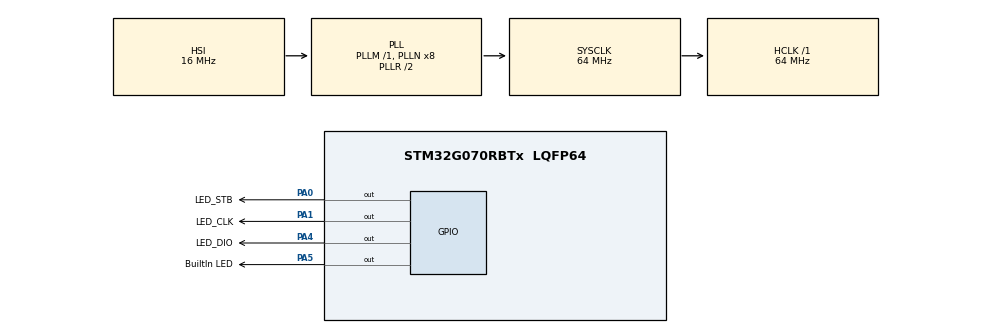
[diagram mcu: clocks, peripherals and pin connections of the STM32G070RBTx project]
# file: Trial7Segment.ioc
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Mcu.Family=STM32G0
Mcu.Name=STM32G070RBTx
Mcu.Package=LQFP64
PA0.GPIO_Label=LED_STB
PA0.Signal=GPIO_Output
PA1.GPIO_Label=LED_CLK
PA1.Signal=GPIO_Output
PA4.GPIO_Label=LED_DIO
PA4.GPIO_PuPd=GPIO_PULLUP
PA4.Signal=GPIO_Output
PA5.GPIO_Label=BuiltIn LED
PA5.Signal=GPIO_Output
PC14-OSC32_IN\ (PC14).Mode=LSE-External-Oscillator
PC14-OSC32_IN\ (PC14).Signal=RCC_OSC32_IN
PC15-OSC32_OUT\ (PC15).Mode=LSE-External-Oscillator
PC15-OSC32_OUT\ (PC15).Signal=RCC_OSC32_OUT
PF0-OSC_IN\ (PF0).Mode=HSE-External-Oscillator
PF0-OSC_IN\ (PF0).Signal=RCC_OSC_IN
PF1-OSC_OUT\ (PF1).Mode=HSE-External-Oscillator
PF1-OSC_OUT\ (PF1).Signal=RCC_OSC_OUT
ProjectManager.HeapSize=0x200
ProjectManager.StackSize=0x400
ProjectManager.TargetToolchain=MDK-ARM V5.27
RCC.ADCFreq_Value=64000000
RCC.AHBFreq_Value=64000000
RCC.CortexFreq_Value=64000000
RCC.EXTERNAL_CLOCK_VALUE=48000
RCC.HCLKFreq_Value=64000000
RCC.HSE_VALUE=8000000
RCC.HSI_VALUE=16000000
RCC.SYSCLKFreq_VALUE=64000000
RCC.SYSCLKSource=RCC_SYSCLKSOURCE_PLLCLK
RCC.VCOOutputFreq_Value=128000000
RTC.Date=5
RTC.Hours=10
RTC.Minutes=20
RTC.Month=RTC_MONTH_AUGUST
RTC.Seconds=30
RTC.WeekDay=RTC_WEEKDAY_FRIDAY
TIM1.AutoReloadPreload=TIM_AUTORELOAD_PRELOAD_ENABLE
TIM1.Prescaler=64-1
VP_RTC_VS_RTC_Activate.Mode=RTC_Enabled
VP_RTC_VS_RTC_Calendar.Mode=RTC_Calendar
VP_SYS_VS_DBSignals.Mode=DisableDeadBatterySignals
VP_TIM1_VS_ClockSourceINT.Mode=Internal
VP_TIM3_VS_ClockSourceINT.Mode=Internal
board=custom

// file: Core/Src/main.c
/* USER CODE BEGIN Header */
/**
  ******************************************************************************
  * @file           : main.c
  * @brief          : Main program body
  ******************************************************************************
  * @attention
  *
  * <h2><center>&copy; Copyright (c) 2022 STMicroelectronics.
  * All rights reserved.</center></h2>
  *
  * This software component is licensed by ST under BSD 3-Clause license,
  * the "License"; You may not use this file except in compliance with the
  * License. You may obtain a copy of the License at:
  *                        opensource.org/licenses/BSD-3-Clause
  *
  ******************************************************************************
  */
/* USER CODE END Header */
#include "main.h"
#include <stdio.h>

RTC_HandleTypeDef hrtc;

TIM_HandleTypeDef htim1;
TIM_HandleTypeDef htim3;

/* USER CODE BEGIN PV */
char time[10];
char date[10];
/* USER CODE END PV */

void SystemClock_Config(void);
static void MX_GPIO_Init(void);
static void MX_TIM1_Init(void);
static void MX_TIM3_Init(void);
static void MX_RTC_Init(void);

/* USER CODE BEGIN 0 */
void set_time(void)
{
	/** Initialize RTC and set the Time and Date
  */
	RTC_TimeTypeDef sTime;
  RTC_DateTypeDef sDate;

  sTime.Hours = 0x10;
  sTime.Minutes = 0x20;
  sTime.Seconds = 0x30;
  sTime.SubSeconds = 0x0;
  sTime.DayLightSaving = RTC_DAYLIGHTSAVING_NONE;
  sTime.StoreOperation = RTC_STOREOPERATION_RESET;
  if (HAL_RTC_SetTime(&hrtc, &sTime, RTC_FORMAT_BCD) != HAL_OK)
  {
    Error_Handler();
  }
  sDate.WeekDay = RTC_WEEKDAY_FRIDAY;
  sDate.Month = RTC_MONTH_AUGUST;
  sDate.Date = 0x5;
  sDate.Year = 0x0;

  if (HAL_RTC_SetDate(&hrtc, &sDate, RTC_FORMAT_BCD) != HAL_OK)
  {
    Error_Handler();
  }

	HAL_RTCEx_BKUPWrite(&hrtc, RTC_BKP_DR1, 0x32F2);
}

void get_time(void)
{
 RTC_DateTypeDef gDate;
 RTC_TimeTypeDef gTime;
/* Get the RTC current Time */
 HAL_RTC_GetTime(&hrtc, &gTime, RTC_FORMAT_BIN);
/* Get the RTC current Date */
 HAL_RTC_GetDate(&hrtc, &gDate, RTC_FORMAT_BIN);
/* Display time Format: hh:mm:ss */
 sprintf((char*)time,"%02d:%02d:%02d",gTime.Hours, gTime.Minutes, gTime.Seconds);
/* Display date Format: dd-mm-yy */
 sprintf((char*)date,"%02d-%02d-%2d",gDate.Date, gDate.Month, 2000 + gDate.Year);
}

uint8_t convertNumber(uint8_t num)
{
	uint8_t converted;
	switch (num)
	{
		case (0x00):
			converted = NOL;
			break;
		case (0x01):
			converted = SATU;
			break;
		case (0x02):
			converted = DUA;
			break;
		case (0x03):
			converted = TIGA;
			break;
		case (0x04):
			converted = EMPAT;
			break;
		case (0x05):
			converted = LIMA;
			break;
		case (0x06):
			converted = ENAM;
			break;
		case (0x07):
			converted = TUJUH;
			break;
		case (0x08):
			converted = DELAPAN;
			break;
		case (0x09):
			converted = SEMBILAN;
			break;
	}
	return converted;
}

void delay_us (uint16_t us)
{
	__HAL_TIM_SET_COUNTER(&htim1,0);  // set the counter value a 0
	while (__HAL_TIM_GET_COUNTER(&htim1) < us);  // wait for the counter to reach the us input in the parameter
}

void writeByte(uint8_t byte)
{
	for (int i=0; i<8; i++)
	{
		clockLow;
		writePin(GPIOA, GPIO_PIN_4, byte&0x01);	// Write from LSB
		byte = byte >> 1;
		clockHigh;
	}
	delay_us(10);
}

void writeCommand(uint8_t displayCommand)
{
	Strobe0;	// Pull Strobe Low before sending data
	writeByte(displayCommand);
	Strobe1; // Pull Strobe High after sending data
}

void writeData(uint8_t displayData)
{
	Strobe0;	// Pull Strobe Low before sending data
	writeByte(displayData);
	delay_us(10);
}

void turnOn()
{
	writeCommand(incrementAddress);	// Command 2 - Set Write data
	writeCommand(clearDisplay); // Command 3 - Clear RAM Display
	writeCommand(fourDigits); // Command 1
	writeCommand(displayOff); // Command 4 - Display off
	writeCommand(fourDigits); // Command 1
	writeCommand(brightnessLevel8);	// Command 4 - Display on
}

void turnOff()
{
	writeCommand(incrementAddress);	// Command 2 - Set Write data
	writeCommand(clearDisplay); // Command 3 - Clear RAM Display
	writeCommand(fourDigits); // Command 1
	writeCommand(displayOff); // Command 4 - Display off
	writeCommand(fourDigits); // Command 1
	writeCommand(displayOff);	// Command 4 - Display off
}

void displayNilai(uint8_t ribuan, uint8_t ratusan, uint8_t puluhan, uint8_t satuan)
{
	writeCommand(incrementAddress);		// Command 2 - Set Write data
	Strobe1;
	writeData(digit1Seg1);					// Command 3 - Set Address of 7 Segment
	writeData(ribuan);
	writeData(digit2Seg3);					// Command 3 - Set Address of 7 Segment
	writeData(ratusan);
	writeData(digit3Seg5);					// Command 3 - Set Address of 7 Segment
	writeData(puluhan);
	writeData(digit4Seg7);						// Command 3 - Set Address of 7 Segment
	writeData(satuan);
	Strobe1;
	writeCommand(fourDigits); 				// Command 1
	writeCommand(brightnessLevel6);		// Command 4 - Display on
	delay_us(40000);
}

/* USER CODE END 0 */

int main(void)
{

  /* MCU Configuration--------------------------------------------------------*/

  /* Reset of all peripherals, Initializes the Flash interface and the Systick. */
  HAL_Init();

  /* Configure the system clock */
  SystemClock_Config();

  /* Initialize all configured peripherals */
  MX_GPIO_Init();
  MX_TIM1_Init();
  MX_TIM3_Init();
  MX_RTC_Init();
  /* USER CODE BEGIN 2 */
	HAL_TIM_Base_Start(&htim1);	// Start timer 1
	turnOn();
	set_time();
  /* USER CODE END 2 */

  /* Infinite loop */
  while (1)
  {

    /* USER CODE BEGIN 3 */
		displayNilai(NOL, SATU, DUA, TIGA);
		get_time();
		delay_us(10000);
  }
  /* USER CODE END 3 */
}

void SystemClock_Config(void)
{
  RCC_OscInitTypeDef RCC_OscInitStruct = {0};
  RCC_ClkInitTypeDef RCC_ClkInitStruct = {0};
  RCC_PeriphCLKInitTypeDef PeriphClkInit = {0};

  /** Configure the main internal regulator output voltage
  */
  HAL_PWREx_ControlVoltageScaling(PWR_REGULATOR_VOLTAGE_SCALE1);
  /** Initializes the RCC Oscillators according to the specified parameters
  * in the RCC_OscInitTypeDef structure.
  */
  RCC_OscInitStruct.OscillatorType = RCC_OSCILLATORTYPE_HSI|RCC_OSCILLATORTYPE_LSI;
  RCC_OscInitStruct.HSIState = RCC_HSI_ON;
  RCC_OscInitStruct.HSIDiv = RCC_HSI_DIV1;
  RCC_OscInitStruct.HSICalibrationValue = RCC_HSICALIBRATION_DEFAULT;
  RCC_OscInitStruct.LSIState = RCC_LSI_ON;
  RCC_OscInitStruct.PLL.PLLState = RCC_PLL_ON;
  RCC_OscInitStruct.PLL.PLLSource = RCC_PLLSOURCE_HSI;
  RCC_OscInitStruct.PLL.PLLM = RCC_PLLM_DIV1;
  RCC_OscInitStruct.PLL.PLLN = 8;
  RCC_OscInitStruct.PLL.PLLP = RCC_PLLP_DIV2;
  RCC_OscInitStruct.PLL.PLLR = RCC_PLLR_DIV2;
  if (HAL_RCC_OscConfig(&RCC_OscInitStruct) != HAL_OK)
  {
    Error_Handler();
  }
  /** Initializes the CPU, AHB and APB buses clocks
  */
  RCC_ClkInitStruct.ClockType = RCC_CLOCKTYPE_HCLK|RCC_CLOCKTYPE_SYSCLK
                              |RCC_CLOCKTYPE_PCLK1;
  RCC_ClkInitStruct.SYSCLKSource = RCC_SYSCLKSOURCE_PLLCLK;
  RCC_ClkInitStruct.AHBCLKDivider = RCC_SYSCLK_DIV1;
  RCC_ClkInitStruct.APB1CLKDivider = RCC_HCLK_DIV1;

  if (HAL_RCC_ClockConfig(&RCC_ClkInitStruct, FLASH_LATENCY_2) != HAL_OK)
  {
    Error_Handler();
  }
  /** Initializes the peripherals clocks
  */
  PeriphClkInit.PeriphClockSelection = RCC_PERIPHCLK_RTC;
  PeriphClkInit.RTCClockSelection = RCC_RTCCLKSOURCE_LSI;

  if (HAL_RCCEx_PeriphCLKConfig(&PeriphClkInit) != HAL_OK)
  {
    Error_Handler();
  }
}

static void MX_RTC_Init(void)
{

  RTC_TimeTypeDef sTime = {0};
  RTC_DateTypeDef sDate = {0};

  /** Initialize RTC Only
  */
  hrtc.Instance = RTC;
  hrtc.Init.HourFormat = RTC_HOURFORMAT_24;
  hrtc.Init.AsynchPrediv = 127;
  hrtc.Init.SynchPrediv = 255;
  hrtc.Init.OutPut = RTC_OUTPUT_DISABLE;
  hrtc.Init.OutPutRemap = RTC_OUTPUT_REMAP_NONE;
  hrtc.Init.OutPutPolarity = RTC_OUTPUT_POLARITY_HIGH;
  hrtc.Init.OutPutType = RTC_OUTPUT_TYPE_OPENDRAIN;
  hrtc.Init.OutPutPullUp = RTC_OUTPUT_PULLUP_NONE;
  if (HAL_RTC_Init(&hrtc) != HAL_OK)
  {
    Error_Handler();
  }

}

static void MX_TIM1_Init(void)
{

  TIM_ClockConfigTypeDef sClockSourceConfig = {0};
  TIM_MasterConfigTypeDef sMasterConfig = {0};

  htim1.Instance = TIM1;
  htim1.Init.Prescaler = 64-1;
  htim1.Init.CounterMode = TIM_COUNTERMODE_UP;
  htim1.Init.Period = 65535;
  htim1.Init.ClockDivision = TIM_CLOCKDIVISION_DIV1;
  htim1.Init.RepetitionCounter = 0;
  htim1.Init.AutoReloadPreload = TIM_AUTORELOAD_PRELOAD_ENABLE;
  if (HAL_TIM_Base_Init(&htim1) != HAL_OK)
  {
    Error_Handler();
  }
  sClockSourceConfig.ClockSource = TIM_CLOCKSOURCE_INTERNAL;
  if (HAL_TIM_ConfigClockSource(&htim1, &sClockSourceConfig) != HAL_OK)
  {
    Error_Handler();
  }
  sMasterConfig.MasterOutputTrigger = TIM_TRGO_RESET;
  sMasterConfig.MasterOutputTrigger2 = TIM_TRGO2_RESET;
  sMasterConfig.MasterSlaveMode = TIM_MASTERSLAVEMODE_DISABLE;
  if (HAL_TIMEx_MasterConfigSynchronization(&htim1, &sMasterConfig) != HAL_OK)
  {
    Error_Handler();
  }

}

static void MX_TIM3_Init(void)
{

  TIM_ClockConfigTypeDef sClockSourceConfig = {0};
  TIM_MasterConfigTypeDef sMasterConfig = {0};

  htim3.Instance = TIM3;
  htim3.Init.Prescaler = 0;
  htim3.Init.CounterMode = TIM_COUNTERMODE_UP;
  htim3.Init.Period = 65535;
  htim3.Init.ClockDivision = TIM_CLOCKDIVISION_DIV1;
  htim3.Init.AutoReloadPreload = TIM_AUTORELOAD_PRELOAD_DISABLE;
  if (HAL_TIM_Base_Init(&htim3) != HAL_OK)
  {
    Error_Handler();
  }
  sClockSourceConfig.ClockSource = TIM_CLOCKSOURCE_INTERNAL;
  if (HAL_TIM_ConfigClockSource(&htim3, &sClockSourceConfig) != HAL_OK)
  {
    Error_Handler();
  }
  sMasterConfig.MasterOutputTrigger = TIM_TRGO_RESET;
  sMasterConfig.MasterSlaveMode = TIM_MASTERSLAVEMODE_DISABLE;
  if (HAL_TIMEx_MasterConfigSynchronization(&htim3, &sMasterConfig) != HAL_OK)
  {
    Error_Handler();
  }

}

static void MX_GPIO_Init(void)
{
  GPIO_InitTypeDef GPIO_InitStruct = {0};

  /* GPIO Ports Clock Enable */
  __HAL_RCC_GPIOC_CLK_ENABLE();
  __HAL_RCC_GPIOF_CLK_ENABLE();
  __HAL_RCC_GPIOA_CLK_ENABLE();

  /*Configure GPIO pin Output Level */
  HAL_GPIO_WritePin(GPIOA, LED_STB_Pin|LED_CLK_Pin|LED_DIO_Pin|BuiltIn_LED_Pin, GPIO_PIN_RESET);

  /*Configure GPIO pins : LED_STB_Pin LED_CLK_Pin BuiltIn_LED_Pin */
  GPIO_InitStruct.Pin = LED_STB_Pin|LED_CLK_Pin|BuiltIn_LED_Pin;
  GPIO_InitStruct.Mode = GPIO_MODE_OUTPUT_PP;
  GPIO_InitStruct.Pull = GPIO_NOPULL;
  GPIO_InitStruct.Speed = GPIO_SPEED_FREQ_LOW;
  HAL_GPIO_Init(GPIOA, &GPIO_InitStruct);

  /*Configure GPIO pin : LED_DIO_Pin */
  GPIO_InitStruct.Pin = LED_DIO_Pin;
  GPIO_InitStruct.Mode = GPIO_MODE_OUTPUT_PP;
  GPIO_InitStruct.Pull = GPIO_PULLUP;
  GPIO_InitStruct.Speed = GPIO_SPEED_FREQ_LOW;
  HAL_GPIO_Init(LED_DIO_GPIO_Port, &GPIO_InitStruct);

}

void Error_Handler(void)
{
  __disable_irq();
  while (1)
  {
  }
}

/************************ (C) COPYRIGHT STMicroelectronics *****END OF FILE****/
